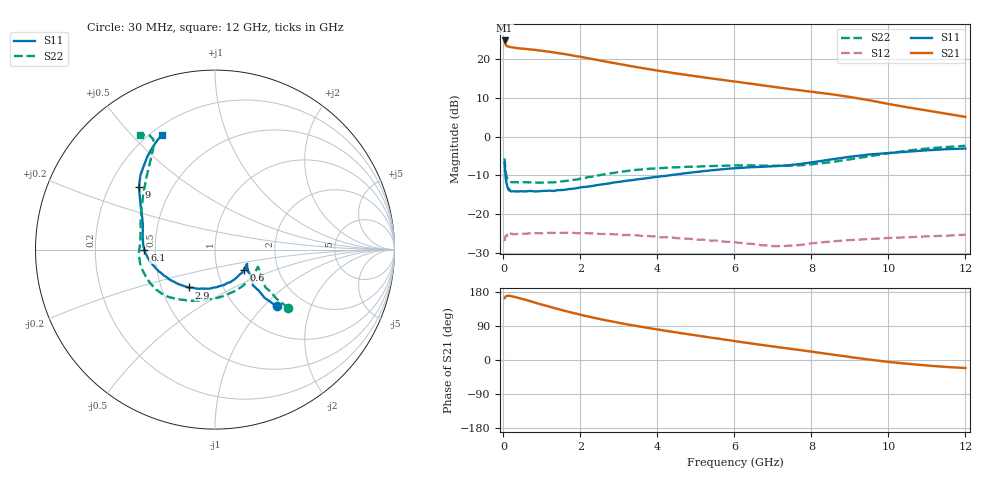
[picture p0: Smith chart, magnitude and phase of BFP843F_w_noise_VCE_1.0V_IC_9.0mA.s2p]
! Infineon Technologies  Discrete & RF Semiconductors
! BFP843F
! VCE =  1.0 V,  IC =  9.0 mA
! Common Emitter S-Parameters:  Aug 2013
# GHz  S  MA  R  50
!  f  S11  S21  S12  S22
! GHz  MAG  ANG  MAG  ANG  MAG  ANG  MAG  ANG
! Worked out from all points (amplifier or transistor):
!   103 points, 30 MHz to 12 GHz, reference 50 ohm
!   highest |S21| = 24.9 dB at 30 MHz (marker M1)
!   |S21| within 3 dB of that: start of sweep to 1.243 GHz
!   unconditionally stable (mu >= 1): 211.6 MHz to 729.4 MHz; 2.681 GHz to end of sweep
!   at 400 MHz: K = 1.01, MAG = 23.5 dB, |S12| = -25.2 dB
!   at 3.7 GHz: K = 1.08, MAG = 19.9 dB, |S12| = -25.7 dB
!   at 12 GHz: K = 1.39, MAG = 11.5 dB, |S12| = -25.4 dB
!   lowest NFmin = 0.79 dB at 450 MHz
!   S11 on the Smith chart (normalised r, x): 30 MHz: 1.47, -1.19; 600 MHz: 1.34, -0.32; 2.9 GHz: 0.69, -0.31; 6.1 GHz: 0.44, -0.00; 9 GHz: 0.32, +0.33; 12 GHz: 0.24, +0.61
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0.03  0.4669 -42.6  17.64 163.2  0.0444 30.0  0.5228 -38.5
0.04  0.3844 -44.2  16.56 164.1  0.05 22.5  0.4395 -38.6
0.05  0.3369 -43.2  15.83 166.7  0.0504 20.2  0.3831 -37.1
0.07  0.2668 -39.1  15.19 168.3  0.0519 12.8  0.3243 -33.4
0.13  0.2133 -30.8  14.64 169.6  0.0531 7.4  0.2697 -25.6
0.25  0.1965 -24.0  14.29 167.4  0.0545 6.7  0.2576 -21.8
0.6  0.1958 -35.7  13.67 158.0  0.0555 1.7  0.2569 -34.6
0.9  0.1962 -50.1  13.15 149.1  0.0564 0.6  0.2543 -49.5
1.3  0.1981 -69.7  12.38 137.6  0.0567 -1.1  0.2563 -69.9
1.7  0.2098 -87.5  11.5 126.9  0.057 -2.7  0.2696 -88.4
2.1  0.2232 -102.7  10.6 117.0  0.0567 -4.8  0.29 -104.7
2.5  0.239 -114.7  9.712 108.1  0.055 -6.5  0.3172 -116.7
2.9  0.2564 -124.6  8.939 100.1  0.0541 -6.9  0.3417 -125.9
3.5  0.2813 -137.2  7.906 89.0  0.0526 -8.2  0.3732 -136.0
4.1  0.3072 -148.6  7.07 78.9  0.0496 -9.5  0.3922 -144.3
5  0.3488 -163.4  6.063 65.0  0.0468 -9.0  0.4106 -156.1
6.1  0.3931 -179.4  5.113 48.6  0.0424 -7.2  0.424 -170.7
7.1  0.4171 164.8  4.366 34.3  0.0382 0.5  0.4192 175.7
8.5  0.5062 145.7  3.557 15.0  0.0439 10.8  0.4674 151.3
9  0.5496 140.5  3.27 7.9  0.0458 12.1  0.5085 141.6
10.5  0.6397 126.2  2.4 -10.0  0.0498 14.0  0.6592 121.5
12  0.7038 114.9  1.806 -21.2  0.0538 17.8  0.763 123.2
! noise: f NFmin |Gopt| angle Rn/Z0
0.45  0.79  0.05  13  0.03
0.9  0.8  0.06  29  0.04
1.5  0.85  0.06  47  0.04
1.9  0.9  0.07  67  0.05
2.4  0.94  0.07  83  0.05
3.5  0.99  0.09  117  0.1
5.5  1.1  0.16  -180  0.17
10  1.68  0.36  -116  0.27
